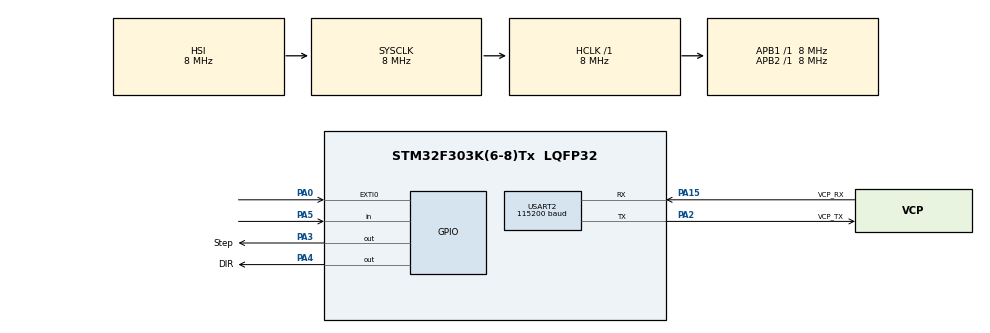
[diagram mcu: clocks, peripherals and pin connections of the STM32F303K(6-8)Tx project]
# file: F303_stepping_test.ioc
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Mcu.Family=STM32F3
Mcu.Name=STM32F303K(6-8)Tx
Mcu.Package=LQFP32
NVIC.EXTI0_IRQn=true\:0\:0\:false\:false\:true\:true\:true
NVIC.PriorityGroup=NVIC_PRIORITYGROUP_4
PA0.GPIO_ModeDefaultEXTI=GPIO_MODE_IT_RISING_FALLING
PA0.GPIO_PuPd=GPIO_PULLUP
PA0.Signal=GPXTI0
PA13.GPIO_Label=SWDIO
PA13.Mode=Serial_Wire
PA13.Signal=SYS_JTMS-SWDIO
PA14.GPIO_Label=SWCLK
PA14.Mode=Serial_Wire
PA14.Signal=SYS_JTCK-SWCLK
PA15.GPIO_Label=VCP_RX
PA15.Mode=Asynchronous
PA15.Signal=USART2_RX
PA2.GPIO_Label=VCP_TX
PA2.Mode=Asynchronous
PA2.Signal=USART2_TX
PA3.GPIO_Label=Step
PA3.Signal=GPIO_Output
PA4.GPIO_Label=DIR
PA4.Signal=GPIO_Output
PA5.Signal=GPIO_Input
PF0\ /\ OSC_IN.GPIO_Label=MCO
PF0\ /\ OSC_IN.Mode=HSE-External-Clock-Source
PF0\ /\ OSC_IN.Signal=RCC_OSC_IN
ProjectManager.HeapSize=0x200
ProjectManager.StackSize=0x400
ProjectManager.TargetToolchain=STM32CubeIDE
RCC.AHBFreq_Value=8000000
RCC.APB1Freq_Value=8000000
RCC.APB2Freq_Value=8000000
RCC.CortexFreq_Value=8000000
RCC.HSE_VALUE=8000000
RCC.HSI_VALUE=8000000
RCC.SYSCLKFreq_VALUE=8000000
USART2.BaudRate=115200
USART2.VirtualMode-Asynchronous=VM_ASYNC
board=NUCLEO-F303K8

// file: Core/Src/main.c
/* USER CODE BEGIN Header */
/**
  ******************************************************************************
  * @file           : main.c
  * @brief          : Main program body
  ******************************************************************************
  * @attention
  *
  * <h2><center>&copy; Copyright (c) 2021 STMicroelectronics.
  * All rights reserved.</center></h2>
  *
  * This software component is licensed by ST under BSD 3-Clause license,
  * the "License"; You may not use this file except in compliance with the
  * License. You may obtain a copy of the License at:
  *                        opensource.org/licenses/BSD-3-Clause
  *
  ******************************************************************************
  */
/* USER CODE END Header */
#include "main.h"

/* USER CODE BEGIN Includes */
#include <stdio.h>
/* USER CODE END Includes */

UART_HandleTypeDef huart2;

void SystemClock_Config(void);
static void MX_GPIO_Init(void);
static void MX_USART2_UART_Init(void);

/* USER CODE BEGIN 0 */

uint8_t stop;

void HAL_GPIO_EXTI_Callback(uint16_t GPIO_Pin)
{
  if (GPIO_Pin == GPIO_PIN_0)
  {
    if (HAL_GPIO_ReadPin(GPIOA, GPIO_PIN_0))
    {
      HAL_GPIO_WritePin(GPIOA, DIR_Pin, 1);
      printf("on\r\n");
      stop=0;
    }
    else if(!HAL_GPIO_ReadPin(GPIOA, GPIO_PIN_0))
    {
      HAL_GPIO_WritePin(GPIOA, DIR_Pin, 0);
      printf("off\r\n");
      stop=1;
    }
  }
}

/* USER CODE END 0 */

int main(void)
{
  /* USER CODE BEGIN 1 */
	setbuf(stdout, NULL);
  /* USER CODE END 1 */

  /* MCU Configuration--------------------------------------------------------*/

  /* Reset of all peripherals, Initializes the Flash interface and the Systick. */
  HAL_Init();

  /* Configure the system clock */
  SystemClock_Config();

  /* Initialize all configured peripherals */
  MX_GPIO_Init();
  MX_USART2_UART_Init();

  /* Infinite loop */
  while (1)
  {

    /* USER CODE BEGIN 3 */
//	  HAL_GPIO_WritePin(GPIOA, DIR_Pin, 0);

//	  初期化動作
	  if (HAL_GPIO_ReadPin(GPIOA, GPIO_PIN_0))
	  {
	    HAL_GPIO_WritePin(GPIOA, DIR_Pin, 1);
	    while(1){
	    	HAL_GPIO_WritePin(GPIOA, Step_Pin, 1);
	    	HAL_Delay(4);
	    	HAL_GPIO_WritePin(GPIOA, Step_Pin, 0);
	    	HAL_Delay(1);
	    	if(stop == 1){
			  break;
		  }
	    }
	  }
	  if(!HAL_GPIO_ReadPin(GPIOA, GPIO_PIN_0))
	  {
	    HAL_GPIO_WritePin(GPIOA, DIR_Pin, 0);
		  for (int i=0; i<100; i++) {

			  HAL_GPIO_WritePin(GPIOA, Step_Pin, 1);
			  HAL_Delay(4);
			  HAL_GPIO_WritePin(GPIOA, Step_Pin, 0);
			  HAL_Delay(1);
		  }
		  HAL_Delay(10000);
	  }

//	  for (int i=0; i<200; i++) {
//		  HAL_GPIO_WritePin(GPIOA, Step_Pin, 1);
//		  HAL_Delay(2);
//		  HAL_GPIO_WritePin(GPIOA, Step_Pin, 0);
//		  HAL_Delay(2);
//	  }

//	  HAL_Delay(2000);
//	  HAL_GPIO_WritePin(GPIOA, DIR_Pin, 0);
//
//	  for (int i=0; i<200; i++) {
//		  HAL_GPIO_WritePin(GPIOA, Step_Pin, 1);
//		  HAL_Delay(1);
//		  HAL_GPIO_WritePin(GPIOA, Step_Pin, 0);
//		  HAL_Delay(1);
//	  }
//	  HAL_Delay(2000);
  }
  /* USER CODE END 3 */
}

void SystemClock_Config(void)
{
  RCC_OscInitTypeDef RCC_OscInitStruct = {0};
  RCC_ClkInitTypeDef RCC_ClkInitStruct = {0};

  /** Initializes the RCC Oscillators according to the specified parameters
  * in the RCC_OscInitTypeDef structure.
  */
  RCC_OscInitStruct.OscillatorType = RCC_OSCILLATORTYPE_HSI;
  RCC_OscInitStruct.HSIState = RCC_HSI_ON;
  RCC_OscInitStruct.HSICalibrationValue = RCC_HSICALIBRATION_DEFAULT;
  RCC_OscInitStruct.PLL.PLLState = RCC_PLL_NONE;
  if (HAL_RCC_OscConfig(&RCC_OscInitStruct) != HAL_OK)
  {
    Error_Handler();
  }
  /** Initializes the CPU, AHB and APB buses clocks
  */
  RCC_ClkInitStruct.ClockType = RCC_CLOCKTYPE_HCLK|RCC_CLOCKTYPE_SYSCLK
                              |RCC_CLOCKTYPE_PCLK1|RCC_CLOCKTYPE_PCLK2;
  RCC_ClkInitStruct.SYSCLKSource = RCC_SYSCLKSOURCE_HSI;
  RCC_ClkInitStruct.AHBCLKDivider = RCC_SYSCLK_DIV1;
  RCC_ClkInitStruct.APB1CLKDivider = RCC_HCLK_DIV1;
  RCC_ClkInitStruct.APB2CLKDivider = RCC_HCLK_DIV1;

  if (HAL_RCC_ClockConfig(&RCC_ClkInitStruct, FLASH_LATENCY_0) != HAL_OK)
  {
    Error_Handler();
  }
}

static void MX_USART2_UART_Init(void)
{

  huart2.Instance = USART2;
  huart2.Init.BaudRate = 115200;
  huart2.Init.WordLength = UART_WORDLENGTH_8B;
  huart2.Init.StopBits = UART_STOPBITS_1;
  huart2.Init.Parity = UART_PARITY_NONE;
  huart2.Init.Mode = UART_MODE_TX_RX;
  huart2.Init.HwFlowCtl = UART_HWCONTROL_NONE;
  huart2.Init.OverSampling = UART_OVERSAMPLING_16;
  huart2.Init.OneBitSampling = UART_ONE_BIT_SAMPLE_DISABLE;
  huart2.AdvancedInit.AdvFeatureInit = UART_ADVFEATURE_NO_INIT;
  if (HAL_UART_Init(&huart2) != HAL_OK)
  {
    Error_Handler();
  }

}

static void MX_GPIO_Init(void)
{
  GPIO_InitTypeDef GPIO_InitStruct = {0};

  /* GPIO Ports Clock Enable */
  __HAL_RCC_GPIOF_CLK_ENABLE();
  __HAL_RCC_GPIOA_CLK_ENABLE();

  /*Configure GPIO pin Output Level */
  HAL_GPIO_WritePin(GPIOA, Step_Pin|DIR_Pin, GPIO_PIN_RESET);

  /*Configure GPIO pin : PA0 */
  GPIO_InitStruct.Pin = GPIO_PIN_0;
  GPIO_InitStruct.Mode = GPIO_MODE_IT_RISING_FALLING;
  GPIO_InitStruct.Pull = GPIO_PULLUP;
  HAL_GPIO_Init(GPIOA, &GPIO_InitStruct);

  /*Configure GPIO pins : Step_Pin DIR_Pin */
  GPIO_InitStruct.Pin = Step_Pin|DIR_Pin;
  GPIO_InitStruct.Mode = GPIO_MODE_OUTPUT_PP;
  GPIO_InitStruct.Pull = GPIO_NOPULL;
  GPIO_InitStruct.Speed = GPIO_SPEED_FREQ_LOW;
  HAL_GPIO_Init(GPIOA, &GPIO_InitStruct);

  /*Configure GPIO pin : PA5 */
  GPIO_InitStruct.Pin = GPIO_PIN_5;
  GPIO_InitStruct.Mode = GPIO_MODE_INPUT;
  GPIO_InitStruct.Pull = GPIO_NOPULL;
  HAL_GPIO_Init(GPIOA, &GPIO_InitStruct);

  /* EXTI interrupt init*/
  HAL_NVIC_SetPriority(EXTI0_IRQn, 0, 0);
  HAL_NVIC_EnableIRQ(EXTI0_IRQn);

}

/* USER CODE BEGIN 4 */

int _write(int file, char *ptr, int len)
{
  HAL_UART_Transmit(&huart2,(uint8_t *)ptr,len,10);
  return len;
}

/* USER CODE END 4 */

void Error_Handler(void)
{
  __disable_irq();
  while (1)
  {
  }
}

/************************ (C) COPYRIGHT STMicroelectronics *****END OF FILE****/
